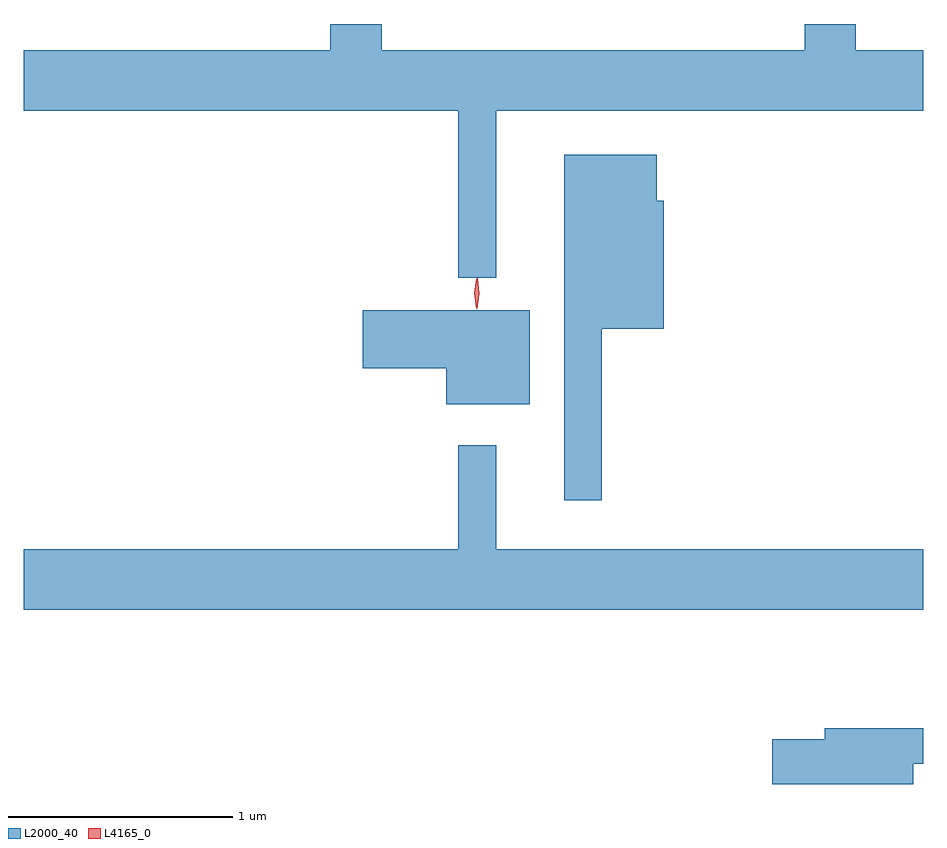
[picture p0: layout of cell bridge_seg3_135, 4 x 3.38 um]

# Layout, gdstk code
import gdstk
lib = gdstk.Library(unit=1e-6, precision=1e-09)
def P(c, l, *ps):  # polygons
    for p in ps: c.add(gdstk.Polygon(p, *l))
L2000_40 = (2000, 40)
L4165_0 = (4165, 0)

bridge_seg3_135 = lib.new_cell('bridge_seg3_135')
P(bridge_seg3_135, L2000_40, [(759.789,1190.396),(761.688,1190.396),(761.688,1190.664),(761.389,1190.664),(761.389,1190.781),(761.161,1190.781),(761.161,1190.664),(759.279,1190.664),(759.279,1190.781),(759.051,1190.781),(759.051,1190.664),(757.688,1190.664),(757.688,1190.396),(759.621,1190.396),(759.621,1189.653),(759.789,1189.653)],
  [(760.259,1189.426),(760.534,1189.426),(760.534,1189.994),(760.504,1189.994),(760.504,1190.199),(760.091,1190.199),(760.091,1188.663),(760.259,1188.663)],
  [(759.939,1189.509),(759.196,1189.509),(759.196,1189.251),(759.566,1189.251),(759.566,1189.091),(759.939,1189.091)],
  [(761.688,1188.444),(759.789,1188.444),(759.789,1188.908),(759.621,1188.908),(759.621,1188.444),(757.688,1188.444),(757.688,1188.176),(761.688,1188.176)],
  [(761.644,1187.491),(761.688,1187.491),(761.688,1187.649),(761.251,1187.649),(761.251,1187.599),(761.016,1187.599),(761.016,1187.401),(761.644,1187.401)])
P(bridge_seg3_135, L4165_0, [(759.703,1189.514),(759.703,1189.514),(759.694,1189.582),(759.704,1189.65),(759.705,1189.65),(759.706,1189.65),(759.714,1189.582),(759.704,1189.514)],
  [(759.701,1189.52),(759.692,1189.583),(759.701,1189.646),(759.702,1189.647),(759.702,1189.646),(759.712,1189.583),(759.702,1189.52),(759.702,1189.52)])

lib.write_gds('bridge_seg3_135.gds')
